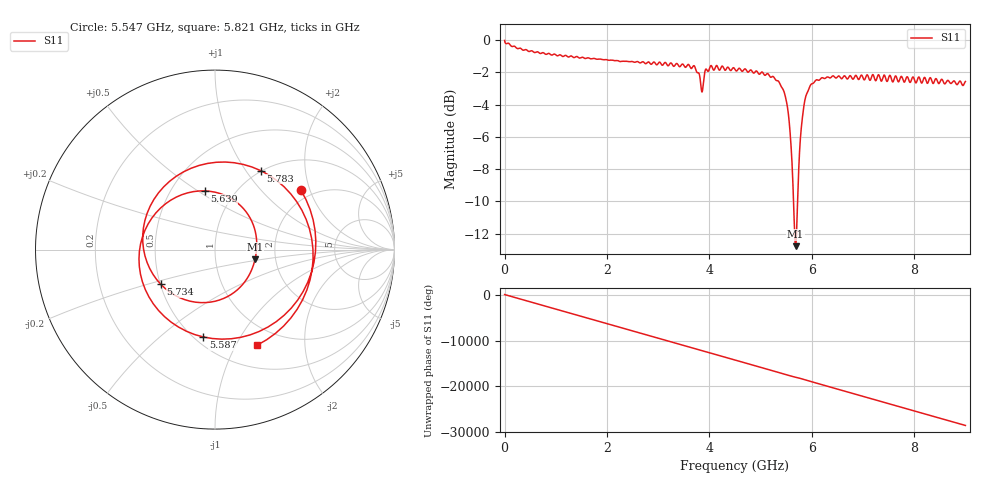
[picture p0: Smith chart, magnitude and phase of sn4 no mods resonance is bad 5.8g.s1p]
# Hz S DB R 50
! CMT, C1209, 21460007, 21.4.4/2
! Date: 4/14/2023 1:47:44 PM
! Data: Format (Calibration Info)
! Freq	S11:dB/Ang(--)
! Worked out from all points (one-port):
!   5000 points, 100 kHz to 9 GHz, reference 50 ohm
!   lowest |S11| = -12.8 dB at 5.684 GHz (marker M1), VSWR 1.60, Z = 78.1 - j8.84 ohm
!   |S11| at or under -10 dB: 5.643 GHz to 5.723 GHz (79.24 MHz wide, 1.39 % of centre)
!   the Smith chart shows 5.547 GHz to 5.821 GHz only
!   S11 on the Smith chart (normalised r, x): 5.547 GHz: 1.73, +1.73; 5.587 GHz: 0.55, -0.71; 5.639 GHz: 0.73, +0.53; 5.734 GHz: 0.50, -0.22; 5.783 GHz: 0.99, +1.17; 5.821 GHz: 0.76, -1.22
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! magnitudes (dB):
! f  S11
! 100 kHz  0.0
! 362 MHz  -0.6
! 1.125 GHz  -1.0
! 2.251 GHz  -1.3
! 3.376 GHz  -1.5
! 3.705 GHz  -1.6
! 3.853 GHz  -3.2
! 3.934 GHz  -1.8
! 4.024 GHz  -1.6
! 4.501 GHz  -1.8
! 5.135 GHz  -2.1
! 5.327 GHz  -2.5
! 5.466 GHz  -3.3
! 5.547 GHz  -4.7
! 5.587 GHz  -6.2
! 5.626 GHz  -8.5
! 5.639 GHz  -9.6
! 5.662 GHz  -11.8
! 5.684 GHz  -12.8
! 5.707 GHz  -11.5
! 5.734 GHz  -8.9
! 5.783 GHz  -5.9
! 5.821 GHz  -4.7
! 5.903 GHz  -3.3
! 6.049 GHz  -2.6
! 6.751 GHz  -2.2
! 7.877 GHz  -2.3
! 9 GHz  -2.6
